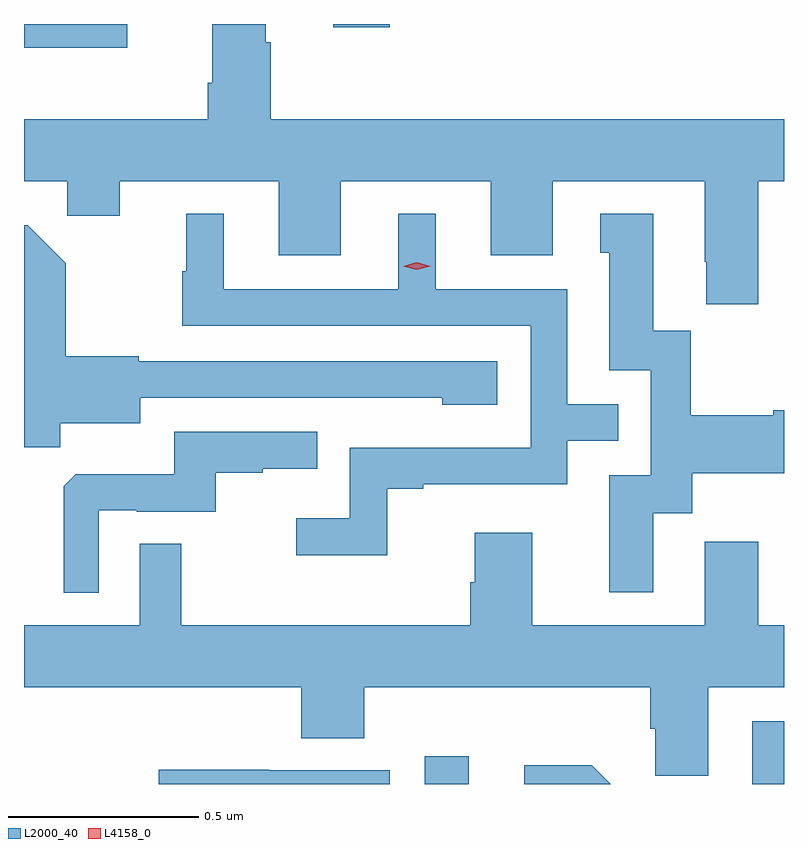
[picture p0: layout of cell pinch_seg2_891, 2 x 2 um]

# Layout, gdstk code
import gdstk
lib = gdstk.Library(unit=1e-6, precision=1e-09)
def R(c, l, rs):  # rectangles x0, y0, x1, y1
    for r in rs: c.add(gdstk.rectangle(r[:2], r[2:], *l))
def P(c, l, *ps):  # polygons
    for p in ps: c.add(gdstk.Polygon(p, *l))
L2000_40 = (2000, 40)
L4158_0 = (4158, 0)

pinch_seg2_891 = lib.new_cell('pinch_seg2_891')
R(pinch_seg2_891, L2000_40, [(590.724,592.77,590.839,592.843), (591.585,592.77,591.669,592.935), (589.669,594.707,589.941,594.77), (590.483,594.762,590.632,594.77)])
P(pinch_seg2_891, L2000_40, [(591.601,594.356),(591.669,594.356),(591.669,594.52),(590.318,594.52),(590.318,594.722),(590.305,594.722),(590.305,594.77),(590.165,594.77),(590.165,594.616),(590.153,594.616),(590.153,594.52),(589.669,594.52),(589.669,594.356),(589.783,594.356),(589.783,594.266),(589.921,594.266),(589.921,594.356),(590.339,594.356),(590.339,594.162),(590.503,594.162),(590.503,594.356),(590.897,594.356),(590.897,594.162),(591.061,594.162),(591.061,594.356),(591.461,594.356),(591.461,594.145),(591.464,594.145),(591.464,594.033),(591.601,594.033)],
  [(590.625,593.547),(590.719,593.547),(590.719,593.559),(591.099,593.559),(591.099,593.673),(591.233,593.673),(591.233,593.769),(591.099,593.769),(591.099,594.072),(590.752,594.072),(590.752,594.271),(590.654,594.271),(590.654,594.072),(590.194,594.072),(590.194,594.271),(590.096,594.271),(590.096,594.12),(590.085,594.12),(590.085,593.976),(591.003,593.976),(591.003,593.655),(590.526,593.655),(590.526,593.47),(590.385,593.47),(590.385,593.372),(590.625,593.372)],
  [(591.325,593.482),(591.427,593.482),(591.427,593.588),(591.669,593.588),(591.669,593.753),(591.641,593.753),(591.641,593.74),(591.423,593.74),(591.423,593.963),(591.325,593.963),(591.325,594.271),(591.185,594.271),(591.185,594.168),(591.209,594.168),(591.209,593.859),(591.318,593.859),(591.318,593.583),(591.209,593.583),(591.209,593.274),(591.325,593.274)],
  [(589.764,593.72),(589.975,593.72),(589.975,593.787),(590.533,593.787),(590.533,593.786),(590.769,593.786),(590.769,593.768),(590.914,593.768),(590.914,593.883),(589.971,593.883),(589.971,593.896),(589.779,593.896),(589.779,594.141),(589.679,594.241),(589.669,594.241),(589.669,594.101),(589.67,594.1),(589.67,594.005),(589.669,594.005),(589.669,593.656),(589.764,593.656)],
  [(589.866,593.49),(589.966,593.49),(589.966,593.487),(590.174,593.487),(590.174,593.589),(590.297,593.589),(590.297,593.6),(590.441,593.6),(590.441,593.697),(590.064,593.697),(590.064,593.585),(589.805,593.585),(589.773,593.553),(589.773,593.273),(589.866,593.273)],
  [(591.469,593.024),(591.669,593.024),(591.669,593.188),(591.601,593.188),(591.601,593.407),(591.461,593.407),(591.461,593.188),(591.007,593.188),(591.007,593.431),(590.855,593.431),(590.855,593.301),(590.843,593.301),(590.843,593.188),(590.083,593.188),(590.083,593.402),(589.974,593.402),(589.974,593.188),(589.669,593.188),(589.669,593.024),(590.399,593.024),(590.399,592.891),(590.564,592.891),(590.564,593.024),(591.317,593.024),(591.317,592.915),(591.33,592.915),(591.33,592.792),(591.469,592.792)],
  [(591.163,592.82),(590.985,592.82),(590.985,592.77),(591.213,592.77)],
  [(590.631,592.806),(590.315,592.806),(590.315,592.808),(590.023,592.808),(590.023,592.77),(590.631,592.77)])
P(pinch_seg2_891, L4158_0, [(590.703,594.123),(590.667,594.133),(590.667,594.133),(590.667,594.133),(590.703,594.143),(590.738,594.133),(590.739,594.133),(590.738,594.133)])

lib.write_gds('pinch_seg2_891.gds')
